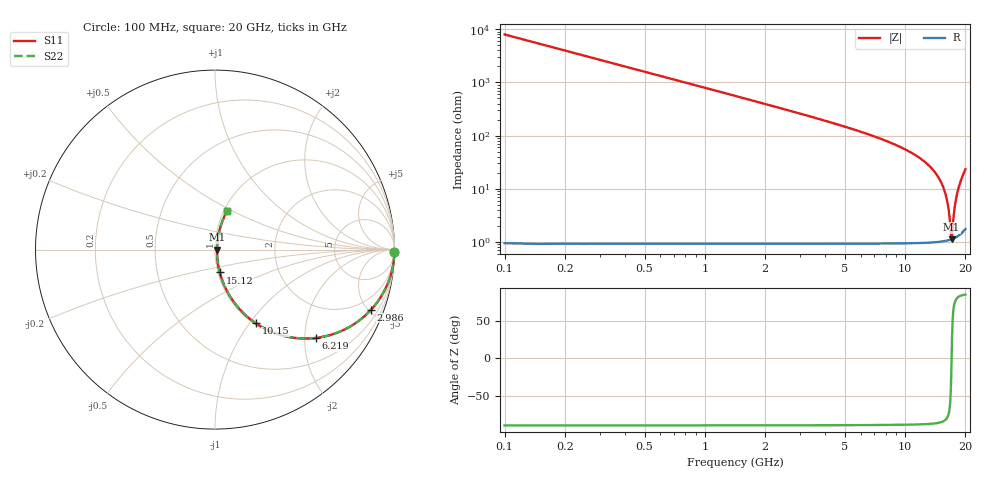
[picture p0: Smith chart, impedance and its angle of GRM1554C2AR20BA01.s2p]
!Murata Part Number: GRM1554C2AR20BA01
!These Parameters are Measured in Series Mode Connection
!Data Generated on Mar 30, 2021
!  o--ll--o
!Port1  Port2
!  o------o
!Operation Temp=25[degC], DC Bias Voltage=0[V]
!Freq. Start=100[MHz] Stop=20[GHz] 401[Steps]
# Hz S RI R 50
!Freq.(Hz) S11(Real) S11(Imag) S21(Real) S21(Imag) S12(Real) S12(Imag) S22(Real) S22(Imag)
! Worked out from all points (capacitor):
!   401 points, 100 MHz to 20 GHz, reference 50 ohm
!   read as one part in series: C = 200 fF near 199.5 MHz
!   lowest |Z| = 1.12 ohm at 17.06 GHz (marker M1)
!   series resonance near 17.07 GHz, so ESL is about 430 pH
!   S11 on the Smith chart (normalised r, x): 100 MHz: open; 2.986 GHz: 1.02, -5.19; 6.219 GHz: 1.02, -2.26; 10.15 GHz: 1.02, -1.07; 15.12 GHz: 1.02, -0.26; 20 GHz: 1.03, +0.46
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1e8  0.9998 -0.0126  0.000159 0.0126  0.000159 0.0126  0.9998 -0.0126
3.985e8  0.9975 -0.05  0.00253 0.05  0.00253 0.05  0.9975 -0.05
8.96e8  0.9873 -0.1114  0.0127 0.1114  0.0127 0.1114  0.9873 -0.1114
1.74175e9  0.9531 -0.2104  0.0469 0.2104  0.0469 0.2104  0.9531 -0.2104
2.9855e9  0.8698 -0.3348  0.1302 0.3348  0.1302 0.3348  0.8698 -0.3348
3.43325e9  0.8323 -0.3715  0.1677 0.3715  0.1677 0.3715  0.8323 -0.3715
6.21925e9  0.5606 -0.4922  0.4394 0.4922  0.4394 0.4922  0.5606 -0.4922
6.7665e9  0.5068 -0.4954  0.4932 0.4954  0.4932 0.4954  0.5068 -0.4954
1.005e10  0.2338 -0.4147  0.7662 0.4147  0.7662 0.4147  0.2338 -0.4147
1.01495e10  0.2272 -0.4103  0.7728 0.4103  0.7728 0.4103  0.2272 -0.4103
1.338325e10  0.0695 -0.236  0.9305 0.236  0.9305 0.236  0.0695 -0.236
1.51245e10  0.0268 -0.1276  0.9732 0.1276  0.9732 0.1276  0.0268 -0.1276
1.61195e10  0.0145 -0.0631  0.9855 0.0631  0.9855 0.0631  0.0145 -0.0631
1.646775e10  0.0123 -0.0401  0.9877 0.0401  0.9877 0.0401  0.0123 -0.0401
1.67165e10  0.0114 -0.0235  0.9886 0.0235  0.9886 0.0235  0.0114 -0.0235
1.696525e10  0.0111 -0.00678  0.9889 0.00678  0.9889 0.00678  0.0111 -0.00678
1.706475e10  0.0111 -5.32e-05  0.9889 5.32e-05  0.9889 5.32e-05  0.0111 -5.32e-05
1.716425e10  0.0112 0.00669  0.9888 -0.00669  0.9888 -0.00669  0.0112 0.00669
1.7612e10  0.0131 0.0374  0.9869 -0.0374  0.9869 -0.0374  0.0131 0.0374
1.805975e10  0.017 0.0686  0.983 -0.0686  0.983 -0.0686  0.017 0.0686
1.885575e10  0.0301 0.1259  0.9699 -0.1259  0.9699 -0.1259  0.0301 0.1259
2e10  0.0659 0.2133  0.9341 -0.2133  0.9341 -0.2133  0.0659 0.2133
